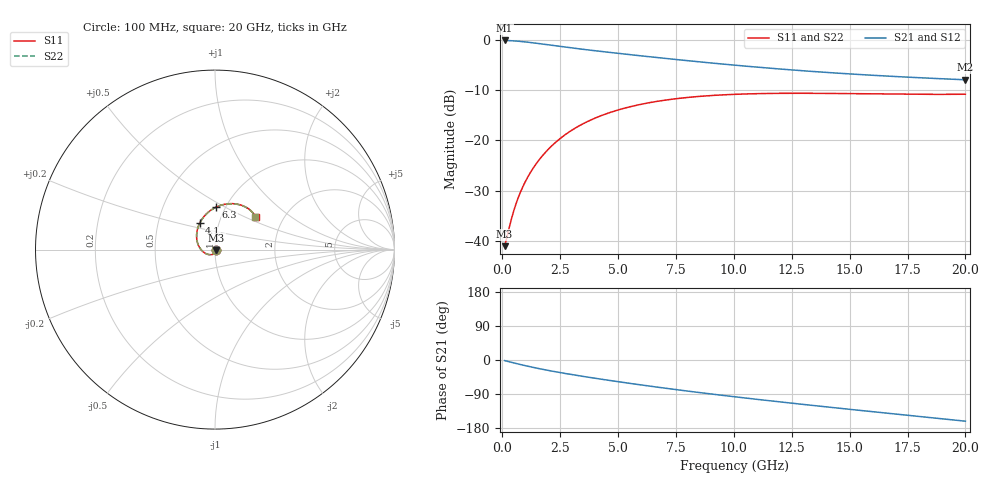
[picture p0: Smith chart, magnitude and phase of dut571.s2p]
! Touchstone file exported from HFSS 2024.1.0
!  File:  C:/UserFiles/LocalFiles/RDL_TSV_Batchsim/temp_RDL_TSV_571_1779754565.aedt
!  Generated:  08:31:46 AM May 26, 2026
!  Design:  RDL_TSV
!  Project:  temp_RDL_TSV_571_1779754565
!  Setup:  Setup1
!  Solution:  Sweep
! Variables:
!  dtsv = 11.1um
!  hbump = 3um
!  htsv = 93.5um
!  ldown = 103.69um
!  lrdl = 414.06um
!  p = 40
!  p1 = 48.96um
!  rhole = 10um
!  subl = 1967.31um
!  t = 450um
!  tdown = 4.28um
!  trdl = 4.88um
!  viad = 10um
!  wdown = 17.24um
!  wrdl = 20.98um
!  xbump = 18um
# GHz S MA R 50.000000
! Terminal data exported
! Port[1] = TM1_1_T1
! Port[2] = TM1_4_T1
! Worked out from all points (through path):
!   200 points, 100 MHz to 20 GHz, reference 50 ohm
!   highest |S21| = -0.08 dB at 100 MHz (marker M1); lowest = -7.9 dB at 20 GHz (marker M2)
!   group delay of S21, straight-line fit = 21.1 ps
!   lowest |S11| = -41.1 dB at 100 MHz (marker M3), VSWR 1.02, Z = 50.8 - j0.412 ohm
!   |S11| at or under -10 dB: start of sweep to end of sweep
!   |S22| runs from -41.1 to -10.6 dB; largest |S21 - S12| = 3.3e-14
!   S11 on the Smith chart (normalised r, x): 100 MHz: 1.02, -0.01; 4.1 GHz: 0.81, +0.25; 6.3 GHz: 0.90, +0.45; 20 GHz: 1.45, +0.57
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0.1  0.008846 -27.3  0.9913 -1.6  0.9913 -1.6  0.008847 -27.3
! Gamma 0 0 0 0
! Port Impedance 50 0 50 0
0.4  0.01668 -81.2  0.9849 -6.3  0.9849 -6.3  0.01669 -81.2
0.6  0.02365 -102.6  0.9779 -9.3  0.9779 -9.3  0.02365 -102.5
0.9  0.03507 -126.6  0.9639 -13.6  0.9639 -13.6  0.03506 -126.5
1.1  0.04315 -139.7  0.9528 -16.4  0.9528 -16.4  0.04313 -139.6
1.3  0.05153 -151.3  0.9407 -19.1  0.9407 -19.1  0.05149 -151.2
1.8  0.07336 -175.5  0.9086 -25.3  0.9086 -25.3  0.07327 -175.4
2.3  0.09571 165.3  0.8766 -31.1  0.8766 -31.1  0.09554 165.4
2.9  0.1221 147.0  0.8409 -37.4  0.8409 -37.4  0.1218 147.1
3.5  0.1472 132.2  0.8083 -43.4  0.8083 -43.4  0.1468 132.3
4.1  0.1704 120.0  0.7785 -49.0  0.7785 -49.0  0.1699 120.1
5.1  0.2043 103.7  0.7332 -58.1  0.7332 -58.1  0.2037 103.7
6.3  0.2367 88.6  0.6844 -68.4  0.6844 -68.4  0.2359 88.6
6.8  0.2476 83.3  0.6655 -72.5  0.6655 -72.5  0.2468 83.3
8.4  0.2734 69.5  0.6104 -85.1  0.6104 -85.1  0.2725 69.5
10.1  0.2885 58.7  0.5605 -97.5  0.5605 -97.5  0.2874 58.6
11.7  0.2943 51.1  0.5212 -108.6  0.5212 -108.6  0.2932 51.1
13.4  0.2949 45.4  0.4868 -119.9  0.4868 -119.9  0.2937 45.3
15  0.2926 41.8  0.4601 -130.1  0.4601 -130.1  0.2914 41.7
16.7  0.2895 39.5  0.4368 -140.9  0.4368 -140.9  0.2884 39.5
18.3  0.2878 38.6  0.4186 -150.9  0.4186 -150.9  0.2867 38.6
20  0.2888 38.6  0.4022 -161.5  0.4022 -161.5  0.2877 38.5
